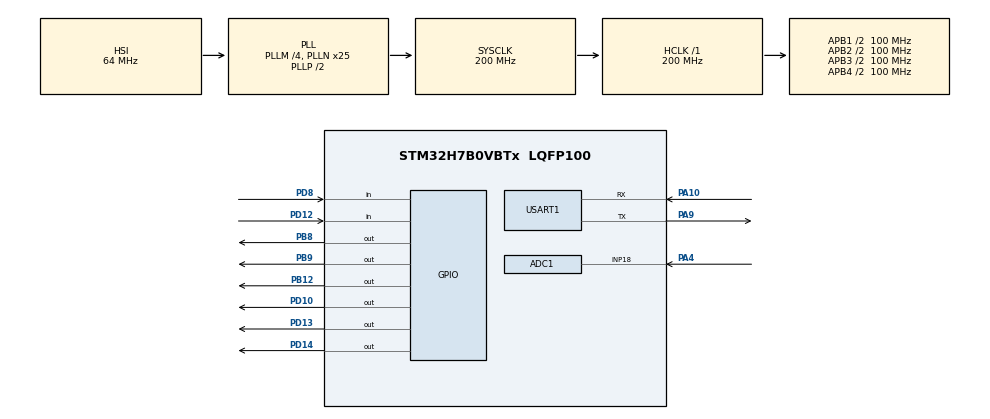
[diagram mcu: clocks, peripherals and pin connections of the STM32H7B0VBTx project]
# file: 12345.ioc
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ADC1.Channel-8\#ChannelRegularConversion=ADC_CHANNEL_18
ADC1.ContinuousConvMode=ENABLE
ADC1.ConversionDataManagement=ADC_CONVERSIONDATA_DMA_CIRCULAR
ADC1.ExternalTrigConv=ADC_EXTERNALTRIG_T2_TRGO
ADC1.NbrOfConversionFlag=1
ADC1.OffsetNumber-8\#ChannelRegularConversion=ADC_OFFSET_NONE
ADC1.OffsetSignedSaturation-8\#ChannelRegularConversion=DISABLE
ADC1.Rank-8\#ChannelRegularConversion=1
ADC1.SamplingTime-8\#ChannelRegularConversion=ADC_SAMPLETIME_1CYCLE_5
ADC1.master=1
CORTEX_M7.CPU_DCache=Disabled
CORTEX_M7.CPU_ICache=Disabled
Dma.ADC1.0.Direction=DMA_PERIPH_TO_MEMORY
Dma.ADC1.0.EventEnable=DISABLE
Dma.ADC1.0.FIFOMode=DMA_FIFOMODE_DISABLE
Dma.ADC1.0.Instance=DMA1_Stream0
Dma.ADC1.0.MemDataAlignment=DMA_MDATAALIGN_WORD
Dma.ADC1.0.MemInc=DMA_MINC_ENABLE
Dma.ADC1.0.Mode=DMA_CIRCULAR
Dma.ADC1.0.PeriphDataAlignment=DMA_PDATAALIGN_WORD
Dma.ADC1.0.PeriphInc=DMA_PINC_DISABLE
Dma.ADC1.0.Polarity=HAL_DMAMUX_REQ_GEN_RISING
Dma.ADC1.0.Priority=DMA_PRIORITY_LOW
Dma.ADC1.0.RequestNumber=1
Dma.ADC1.0.SignalID=NONE
Dma.ADC1.0.SyncEnable=DISABLE
Dma.ADC1.0.SyncPolarity=HAL_DMAMUX_SYNC_NO_EVENT
Dma.ADC1.0.SyncRequestNumber=1
Dma.ADC1.0.SyncSignalID=NONE
Dma.Request0=ADC1
Mcu.Family=STM32H7
Mcu.Name=STM32H7B0VBTx
Mcu.Package=LQFP100
NVIC.ADC_IRQn=true\:0\:0\:false\:false\:true\:true\:true\:true
NVIC.DMA1_Stream0_IRQn=true\:0\:0\:false\:false\:true\:false\:true\:true
NVIC.PriorityGroup=NVIC_PRIORITYGROUP_4
NVIC.TIM1_UP_IRQn=true\:15\:0\:false\:false\:true\:false\:true\:true
NVIC.TIM2_IRQn=true\:0\:0\:false\:false\:true\:true\:true\:true
NVIC.TimeBase=TIM1_UP_IRQn
NVIC.TimeBaseIP=TIM1
NVIC.USART1_IRQn=true\:0\:0\:false\:false\:true\:true\:true\:true
PA10.Mode=Asynchronous
PA10.Signal=USART1_RX
PA13.Mode=Serial_Wire
PA13.Signal=DEBUG_JTMS-SWDIO
PA14.Mode=Serial_Wire
PA14.Signal=DEBUG_JTCK-SWCLK
PA4.Signal=ADCx_INP18
PA9.Mode=Asynchronous
PA9.Signal=USART1_TX
PB12.Signal=GPIO_Output
PB8.Signal=GPIO_Output
PB9.Signal=GPIO_Output
PD10.Signal=GPIO_Output
PD12.Signal=GPIO_Input
PD13.Signal=GPIO_Output
PD14.Signal=GPIO_Output
PD8.Signal=GPIO_Input
PH0-OSC_IN.Mode=HSE-External-Oscillator
PH0-OSC_IN.Signal=RCC_OSC_IN
PH1-OSC_OUT.Mode=HSE-External-Oscillator
PH1-OSC_OUT.Signal=RCC_OSC_OUT
ProjectManager.HeapSize=0x800
ProjectManager.StackSize=0x400
ProjectManager.TargetToolchain=EWARM V8.50
RCC.ADCFreq_Value=48000000
RCC.APB1Freq_Value=100000000
RCC.APB2Freq_Value=100000000
RCC.APB3Freq_Value=100000000
RCC.APB4Freq_Value=100000000
RCC.CDPPRE=RCC_APB3_DIV2
RCC.CDPPRE1=RCC_APB1_DIV2
RCC.CDPPRE2=RCC_APB2_DIV2
RCC.CortexFreq_Value=200000000
RCC.DIVM1=4
RCC.DIVM2=4
RCC.DIVM3=4
RCC.DIVN1=25
RCC.DIVN2=9
RCC.DIVN3=9
RCC.DIVP2=3
RCC.DIVR3=3
RCC.HCLKFreq_Value=200000000
RCC.PLL2FRACN=0
RCC.PLL3FRACN=0
RCC.PLLFRACN=0
RCC.SRDPPRE=RCC_APB4_DIV2
RCC.SYSCLKFreq_VALUE=200000000
RCC.SYSCLKSource=RCC_SYSCLKSOURCE_PLLCLK
RCC.USBFreq_Value=200000000
SH.ADCx_INP18.0=ADC1_INP18,IN18-Single-Ended
TIM2.Period=1000
TIM2.Prescaler=1000-1
TIM2.TIM_MasterOutputTrigger=TIM_TRGO_UPDATE
TIM3.Prescaler=140-1
USART1.VirtualMode-Asynchronous=VM_ASYNC
VP_SYS_VS_tim1.Mode=TIM1
VP_TIM2_VS_ClockSourceINT.Mode=Internal
VP_TIM3_VS_ClockSourceINT.Mode=Internal
board=custom

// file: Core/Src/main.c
/* USER CODE BEGIN Header */
/**
  ******************************************************************************
  * @file           : main.c
  * @brief          : Main program body
  ******************************************************************************
  * @attention
  *
  * Copyright (c) 2024 STMicroelectronics.
  * All rights reserved.
  *
  * This software is licensed under terms that can be found in the LICENSE file
  * in the root directory of this software component.
  * If no LICENSE file comes with this software, it is provided AS-IS.
  *
  ******************************************************************************
  */
/* USER CODE END Header */
#include "main.h"
#include "adc.h"
#include "dma.h"
#include "tim.h"
#include "usart.h"
#include "gpio.h"

/* USER CODE BEGIN Includes */
//#include "appfun_lib.h"
#include "stdio.h"
/* USER CODE END Includes */

/* USER CODE BEGIN PV */
//extern DATARECEIVE USART1_DataRev;
uint8_t Usart1_RxByte;
uint32_t ADC_RxByte;
uint16_t count;
uint16_t count_Spec=0;
uint16_t spec_Get_Flag;
//extern bool StartSpecolAction; //开始光谱采集动作
//extern bool StartDCcolAction;
//bool StopSpecolAction; //开始光谱采集动作
//bool StartSpecAction_DA;
uint16_t StartSpecAction_DA_Count;
uint8_t StartSpecAction_DA_Count_Avg;
//bool StartSpecAction_DA_Type=FALSE;
uint8_t timeOut_Size_TX=0;
extern uint8_t readBuffer[20];

extern int32_t CurrentRDSpecdata[512+256];
#define BATCH_DATA_LEN 10
uint32_t DataBuffer[BATCH_DATA_LEN];
__no_init uint32_t adc_result[2048] @0x24000000;

/*main.h中的变量外扩及宏定义*/

extern uint32_t DataBuffer[BATCH_DATA_LEN];
/* USER CODE END PV */

void SystemClock_Config(void);

/* USER CODE BEGIN 0 */
void HAL_UART_RxCpltCallback(UART_HandleTypeDef *huart)
{
    UNUSED(huart);
    HAL_StatusTypeDef return_state;
   if(huart->Instance == USART1)
   {

//     USARTx_IRQHandler_RXNE(Usart1_RxByte,&USART1_DataRev);
//     return_state=HAL_UART_Receive_IT(&huart1,&Usart1_RxByte,1);
//      if(return_state!=HAL_OK)
//      {
//
//        if(return_state == HAL_BUSY)
//        {
//          huart->Lock=HAL_UNLOCKED;
//
//          while(HAL_UART_Receive_IT(huart,&Usart1_RxByte,1)!=HAL_OK);
//
//        }
//      }
   }
}
/* USER CODE END 0 */

int main(void)
{

  /* MCU Configuration--------------------------------------------------------*/

  /* Reset of all peripherals, Initializes the Flash interface and the Systick. */
  HAL_Init();

  /* Configure the system clock */
  SystemClock_Config();

  /* Initialize all configured peripherals */
  MX_GPIO_Init();
  MX_DMA_Init();
  MX_TIM3_Init();
  MX_USART1_UART_Init();
  MX_ADC1_Init();
  MX_TIM2_Init();
  /* USER CODE BEGIN 2 */
  //HAL_UART_Receive_IT(&huart1,&Usart1_RxByte,1);
  //HAL_EnableCompensationCell();
  //DAC80501_VoltageOut();
  if(HAL_ADC_Start_DMA(&hadc1,adc_result,2048)!=HAL_OK)
  {
    printf("1");
  }

//  HAL_ADC_Start_IT(&hadc1);

 //HAL_TIM_Base_Start_IT(&htim3);
  HAL_TIM_Base_Start_IT(&htim2);
  /* USER CODE END 2 */

  /* Infinite loop */
  while (1)
  {

    /* USER CODE BEGIN 3 */
//    int16_t adcBuf[2];
//    for(int i=0;i<2;i++)
//    {
//      HAL_ADC_Start(&hadc1);
//      HAL_ADC_PollForConversion(&hadc1,50);
//      adcBuf[i]=HAL_ADC_GetValue(&hadc1);
//      printf("adc %d = %d \r\n",i,adcBuf[i]);
//    }
//    HAL_ADC_Stop(&hadc1);
//    HAL_GPIO_WritePin(GPIOD, GPIO_PIN_14 ,GPIO_PIN_RESET);
//    HAL_Delay(1);
//    HAL_GPIO_WritePin(GPIOD, GPIO_PIN_14 ,GPIO_PIN_SET);
    HAL_Delay(1);

  }
  /* USER CODE END 3 */
}

void SystemClock_Config(void)
{
  RCC_OscInitTypeDef RCC_OscInitStruct = {0};
  RCC_ClkInitTypeDef RCC_ClkInitStruct = {0};

  /*AXI clock gating */
  RCC->CKGAENR = 0xFFFFFFFF;

  /** Supply configuration update enable
  */
  HAL_PWREx_ConfigSupply(PWR_LDO_SUPPLY);

  /** Configure the main internal regulator output voltage
  */
  __HAL_PWR_VOLTAGESCALING_CONFIG(PWR_REGULATOR_VOLTAGE_SCALE1);

  while(!__HAL_PWR_GET_FLAG(PWR_FLAG_VOSRDY)) {}

  /** Initializes the RCC Oscillators according to the specified parameters
  * in the RCC_OscInitTypeDef structure.
  */
  RCC_OscInitStruct.OscillatorType = RCC_OSCILLATORTYPE_HSI;
  RCC_OscInitStruct.HSIState = RCC_HSI_DIV1;
  RCC_OscInitStruct.HSICalibrationValue = 64;
  RCC_OscInitStruct.PLL.PLLState = RCC_PLL_ON;
  RCC_OscInitStruct.PLL.PLLSource = RCC_PLLSOURCE_HSI;
  RCC_OscInitStruct.PLL.PLLM = 4;
  RCC_OscInitStruct.PLL.PLLN = 25;
  RCC_OscInitStruct.PLL.PLLP = 2;
  RCC_OscInitStruct.PLL.PLLQ = 2;
  RCC_OscInitStruct.PLL.PLLR = 2;
  RCC_OscInitStruct.PLL.PLLRGE = RCC_PLL1VCIRANGE_3;
  RCC_OscInitStruct.PLL.PLLVCOSEL = RCC_PLL1VCOWIDE;
  RCC_OscInitStruct.PLL.PLLFRACN = 0;
  if (HAL_RCC_OscConfig(&RCC_OscInitStruct) != HAL_OK)
  {
    Error_Handler();
  }

  /** Initializes the CPU, AHB and APB buses clocks
  */
  RCC_ClkInitStruct.ClockType = RCC_CLOCKTYPE_HCLK|RCC_CLOCKTYPE_SYSCLK
                              |RCC_CLOCKTYPE_PCLK1|RCC_CLOCKTYPE_PCLK2
                              |RCC_CLOCKTYPE_D3PCLK1|RCC_CLOCKTYPE_D1PCLK1;
  RCC_ClkInitStruct.SYSCLKSource = RCC_SYSCLKSOURCE_PLLCLK;
  RCC_ClkInitStruct.SYSCLKDivider = RCC_SYSCLK_DIV1;
  RCC_ClkInitStruct.AHBCLKDivider = RCC_HCLK_DIV1;
  RCC_ClkInitStruct.APB3CLKDivider = RCC_APB3_DIV2;
  RCC_ClkInitStruct.APB1CLKDivider = RCC_APB1_DIV2;
  RCC_ClkInitStruct.APB2CLKDivider = RCC_APB2_DIV2;
  RCC_ClkInitStruct.APB4CLKDivider = RCC_APB4_DIV2;

  if (HAL_RCC_ClockConfig(&RCC_ClkInitStruct, FLASH_LATENCY_5) != HAL_OK)
  {
    Error_Handler();
  }
}

/* USER CODE BEGIN 4 */

/*main.c中的全局变量定义*/

/*DMA转换完成中断回调*/
/*转换完成中断回调*/
void HAL_ADC_ConvCpltCallback(ADC_HandleTypeDef *hadc)
{
    /*定时器中断启动单通道转换*/
    HAL_GPIO_TogglePin(GPIOD, GPIO_PIN_14 );
//    if(hadc->Instance == ADC1)
//    {
//      //printf("2\r\n");
////        uint32_t val=HAL_ADC_GetValue(hadc);
////        uint32_t Volt=(3300*val)>>12;
////         HAL_GPIO_WritePin(GPIOD, GPIO_PIN_14 ,GPIO_PIN_SET);
////        printf("val:%d, Volt:%d\r\n",val,Volt);
//    }
////      HAL_ADC_Start_IT(&hadc1);
//
//  // printf("val:%d\r\n",adc_result[2]);
//   //HAL_ADC_Start_DMA(&hadc1,adc_result,2048);
//   HAL_GPIO_WritePin(GPIOD, GPIO_PIN_14 ,GPIO_PIN_RESET);

}

/* USER CODE END 4 */

void HAL_TIM_PeriodElapsedCallback(TIM_HandleTypeDef *htim)
{
  if (htim->Instance == TIM1) {
    HAL_IncTick();
  }
  /* USER CODE BEGIN Callback 1 */
 if(htim->Instance == TIM2)
  {
//    HAL_GPIO_TogglePin(GPIOD,GPIO_PIN_13);
//    count++;
//    if (count<12)
//    {
//      if(count%2==0)
//      {
//        HAL_GPIO_WritePin(GPIOD,GPIO_PIN_13,GPIO_PIN_RESET);
//      }
//      else
//      {
//        HAL_GPIO_WritePin(GPIOD,GPIO_PIN_13,GPIO_PIN_SET);
//      }
//    }
//    else if(count==12)
//    {
//
//      HAL_GPIO_TogglePin(GPIOD,GPIO_PIN_13);
//      HAL_GPIO_WritePin(GPIOD,GPIO_PIN_14,GPIO_PIN_RESET);
//    }
//    else if(count<4282)
//    {
//      HAL_GPIO_TogglePin(GPIOD,GPIO_PIN_13);
//    }
//    if(count==4282)
//    {
//      count=0;
//      StopSpecolAction=TRUE;
//      StartSpecolAction=FALSE;
//      //      HAL_GPIO_WritePin(GPIOD,GPIO_PIN_14,GPIO_PIN_SET);
//      //       HAL_GPIO_WritePin(GPIOD,GPIO_PIN_14,GPIO_PIN_RESET);
//      HAL_TIM_Base_Stop_IT(&htim2);
//
//    }
//
//    if(count==186)
//    {
//      StartSpecolAction=TRUE;
//    }
//
  }
  /* USER CODE END Callback 1 */
}

void Error_Handler(void)
{
  __disable_irq();
  while (1)
  {
  }
}
